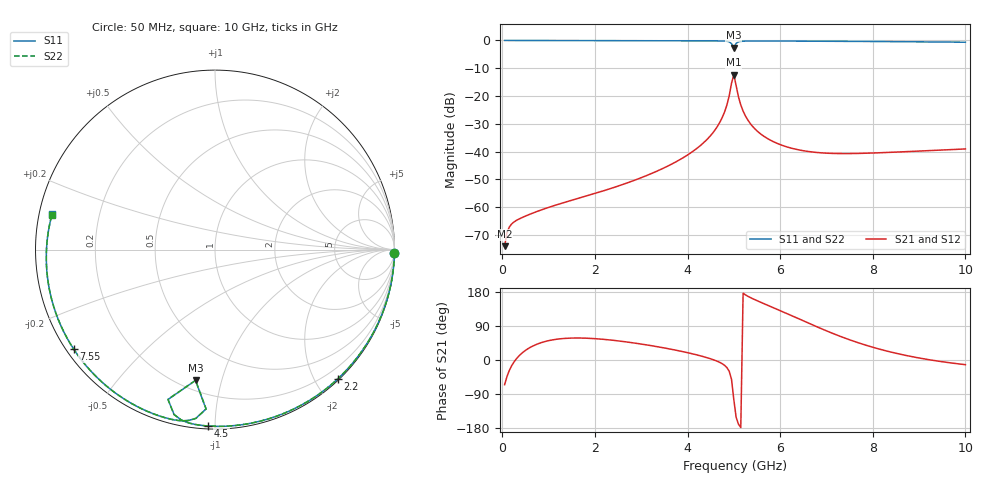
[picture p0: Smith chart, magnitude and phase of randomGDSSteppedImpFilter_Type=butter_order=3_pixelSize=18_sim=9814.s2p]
! freq	dB(S11)	phase(S11)	dB(S12)	phase(S12)
!  dB(S21)	phase(S21)	dB(S22)	phase(S22)
!S-par simulation data
#  GHz  S  DB  R 50
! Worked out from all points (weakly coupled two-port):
!   200 points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, 50 MHz to 10 GHz, reference 50 ohm
!   highest |S21| = -12.28 dB at 5 GHz (marker M1); lowest = -74.0 dB at 50 MHz (marker M2)
!   lowest |S11| = -2.6 dB at 5 GHz (marker M3), VSWR 6.61, Z = 13 - j41.4 ohm
!   |S11| at or under -10 dB: nowhere
!   |S22| runs from -2.7 to 0.0 dB; largest |S21 - S12| = 0
!   S11 on the Smith chart (normalised r, x): 50 MHz: open; 2.2 GHz: 0.02, -2.33; 4.5 GHz: 0.02, -0.96; 7.55 GHz: 0.02, -0.32; 10 GHz: 0.04, +0.11
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0.05  -0.00 -1.1  -73.98 -65.0  -73.98 -65.0  -0.00 -1.1
0.1  -0.00 -2.2  -69.21 -44.1  -69.21 -44.1  -0.00 -2.2
0.15  -0.00 -3.2  -67.15 -28.1  -67.15 -28.1  -0.00 -3.2
0.3  -0.00 -6.5  -64.76 2.5  -64.76 2.5  -0.00 -6.5
1.75  -0.05 -37.2  -56.25 57.8  -56.25 57.8  -0.05 -37.2
2.2  -0.06 -46.5  -53.99 54.4  -53.99 54.4  -0.06 -46.5
3.4  -0.09 -70.5  -46.55 34.0  -46.55 34.0  -0.09 -70.5
4.05  -0.12 -83.1  -40.64 18.0  -40.64 18.0  -0.12 -83.1
4.5  -0.14 -92.1  -34.17 3.1  -34.17 3.1  -0.14 -92.1
4.8  -0.23 -99.5  -25.69 -14.1  -25.69 -14.1  -0.23 -99.5
4.9  -0.48 -103.9  -19.89 -29.8  -19.89 -29.8  -0.48 -104.0
4.95  -1.16 -107.4  -15.39 -51.1  -15.39 -51.1  -1.16 -107.4
5  -2.65 -98.5  -12.28 -105.1  -12.28 -105.1  -2.66 -98.5
5.05  -1.02 -93.2  -16.22 -151.5  -16.22 -151.5  -1.02 -93.2
5.1  -0.48 -96.5  -20.29 -169.3  -20.29 -169.3  -0.48 -96.5
5.2  -0.26 -100.6  -25.40 176.2  -25.40 176.2  -0.26 -100.6
5.5  -0.20 -107.7  -32.52 156.6  -32.52 156.6  -0.20 -107.7
6  -0.21 -117.2  -37.45 130.4  -37.45 130.4  -0.21 -117.2
6.7  -0.26 -129.8  -40.13 92.6  -40.13 92.6  -0.26 -129.8
7.55  -0.33 -144.9  -40.67 51.2  -40.67 51.2  -0.33 -144.9
8.35  -0.41 -159.4  -40.26 22.2  -40.26 22.2  -0.41 -159.4
10  -0.64 167.8  -39.01 -12.4  -39.01 -12.4  -0.64 167.9
